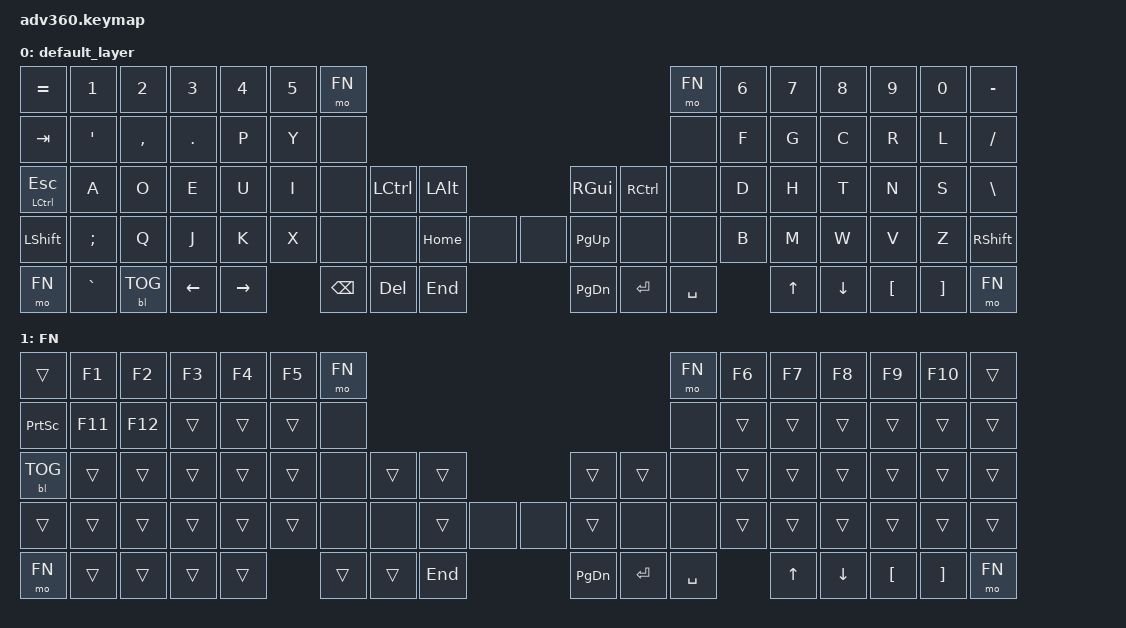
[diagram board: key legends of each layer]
#include <behaviors.dtsi>
#include <dt-bindings/zmk/keys.h>
#include <dt-bindings/zmk/bt.h>
#include <dt-bindings/zmk/rgb.h>
#include <dt-bindings/zmk/backlight.h>


#define DEFAULT 0
#define FN      1
//#define KP      1
//#define FN      2
//#define MOD     3
//#define QWERTY   4
//#define SHIFT_LAYER   5
//#define SYMBOL_LAYER   6
//#define GAME_LAYER   7
//#define CODE   8



/ {
    // combos {
    //     compatible = "zmk,combos";
    //     // combo_save {
    //     //     timeout-ms = <50>;
    //     //     key-positions = <31 32>;
    //     //     bindings = <&kp LG(S)>;
    //     // };
    //     combo_enter {
    //         timeout-ms = <50>;
    //         key-positions = <41 42>;
    //         bindings = <&kp ENTER>;
    //     };
    // };
    behaviors {
     // #include "macros.dtsi"

      hm: homerow_mods {
          compatible = "zmk,behavior-hold-tap";
          label = "HOMEROW_MODS";
          #binding-cells = <2>;
          tapping-term-ms = <200>;
          quick_tap_ms = <175>;
          flavor = "tap-preferred";
          bindings = <&kp>, <&kp>;
      };
      mo_tog: behavior_mo_tog {
          compatible = "zmk,behavior-hold-tap";
          label = "mo_tog";
          #binding-cells = <2>;
          flavor = "hold-preferred";
          tapping-term-ms = <200>;
          bindings = <&mo>, <&tog>;
      };
      bspc_del: backspace_delete {
          compatible = "zmk,behavior-mod-morph";
          label = "BACKSPACE_DELETE";
          #binding-cells = <0>;
          bindings = <&kp BACKSPACE>, <&kp DELETE>;
          mods = <(MOD_LSFT|MOD_RSFT)>;
          keep-mods = <(MOD_RSFT)>;
      };
      td_cp: tap_dance_cp {
          compatible = "zmk,behavior-tap-dance";
          label = "TAP_DANCE_CP";
          #binding-cells = <0>;
          tapping-term-ms = <300>;
          bindings = <&kp LG(V)>, <&kp LG(C)>;
      };
//      td_cap: tap_dance_cap {
//          compatible = "zmk,behavior-tap-dance";
//          label = "TAP_DANCE_CAP";
//          #binding-cells = <0>;
//          tapping-term-ms = <200>;
//          bindings = <&mo SHIFT_LAYER>, <&caps_word>, <&kp CAPSLOCK>;
//      };
//      td_kp: tap_dance_kp {
//          compatible = "zmk,behavior-tap-dance";
//          label = "TAP_DANCE_KP";
//          #binding-cells = <0>;
//          tapping-term-ms = <200>;
//          bindings = <&mo KP>, <&tog KP>;
//      };
//      td_s_par: tap_dance_s_par {
//          compatible = "zmk,behavior-tap-dance";
//          label = "TAP_DANCE_S_PAR";
//          #binding-cells = <0>;
//          tapping-term-ms = <200>;
//          bindings = <&kp LPAR>, <&kp RPAR>;
//      };
//      td_m_par: tap_dance_m_par {
//          compatible = "zmk,behavior-tap-dance";
//          label = "TAP_DANCE_M_PAR";
//          #binding-cells = <0>;
//          tapping-term-ms = <200>;
//          bindings = <&kp LEFT_BRACKET>, <&kp RIGHT_BRACKET>;
//      };
//      td_l_par: tap_dance_l_par {
//          compatible = "zmk,behavior-tap-dance";
//          label = "TAP_DANCE_L_PAR";
//          #binding-cells = <0>;
//          tapping-term-ms = <200>;
//          bindings = <&kp LS(LEFT_BRACKET)>, <&kp LS(RIGHT_BRACKET)>;
//      };
//      gresc: grave_escape {
//          compatible = "zmk,behavior-mod-morph";
//          label = "GRAVE_ESCAPE";
//          #binding-cells = <0>;
//          bindings = <&kp ESC>, <&kp GRAVE>;
//          mods = <(MOD_LSFT|MOD_RSFT)>;
//        };
//      one: one {
//          compatible = "zmk,behavior-mod-morph";
//          label = "one_lt";
//          #binding-cells = <0>;
//          bindings = <&kp N1>, <&kp LESS_THAN>;
//          mods = <(MOD_LSFT|MOD_RSFT)>;
//        };
//      two: two {
//          compatible = "zmk,behavior-mod-morph";
//          label = "two_gt";
//          #binding-cells = <0>;
//          bindings = <&kp N2>, <&kp GREATER_THAN>;
//          mods = <(MOD_LSFT|MOD_RSFT)>;
//        };
//      three: three {
//          compatible = "zmk,behavior-mod-morph";
//          label = "three_question";
//          #binding-cells = <0>;
//          bindings = <&kp N3>, <&kp QUESTION>;
//          mods = <(MOD_LSFT|MOD_RSFT)>;
//        };
//      comma_exclamation: comma_exclamation {
//          compatible = "zmk,behavior-mod-morph";
//          label = "comma_exclamation";
//          #binding-cells = <0>;
//          bindings = <&kp COMMA>, <&kp EXCLAMATION>;
//          mods = <(MOD_LSFT|MOD_RSFT)>;
//        };
//      dot_equal: dot_equal {
//          compatible = "zmk,behavior-mod-morph";
//          label = "dot_equal";
//          #binding-cells = <0>;
//          bindings = <&kp DOT>, <&kp KP_EQUAL>;
//          mods = <(MOD_LSFT|MOD_RSFT)>;
//        };
//      colon_backslash: colon_backslash {
//          compatible = "zmk,behavior-mod-morph";
//          label = "colon_backslash";
//          #binding-cells = <0>;
//          bindings = <&kp COLON>, <&kp BACKSLASH>;
//          mods = <(MOD_LSFT|MOD_RSFT)>;
//        };
//      left_home: left_home {
//          compatible = "zmk,behavior-mod-morph";
//          label = "left_home";
//          #binding-cells = <0>;
//          bindings = <&kp LEFT>, <&kp HOME>;
//          mods = <(MOD_LSFT|MOD_RSFT)>;
//        };
//      right_end: right_end {
//          compatible = "zmk,behavior-mod-morph";
//          label = "right_end";
//          #binding-cells = <0>;
//          bindings = <&kp RIGHT>, <&kp END>;
//          mods = <(MOD_LSFT|MOD_RSFT)>;
//        };

    };

  keymap {
    compatible = "zmk,keymap";
      //  ╭────────────────────────────┬────────────────────────────╮
      //  │  0   1   2   3   4   5   6 │  7   8   9  10  11  12  13 │
      //  │ 14  15  16  17  18  19  20 │ 21  22  23  24  25  26  27 │
      //  │ 28  29  30  31  32  33  34 │ 35  36  37  38  39  40  41 │
      //  │ 42  43  44  45  46  47 ╭───┴───╮ 48  49  50  51  52  53 │
      //  │ 54  55  56  57  58╭────╯       ╰────╮59  60  61  62  63 │
      //  ╰───────────────────┼────────┬────────┼───────────────────╯
      //                  ╭───╯ 64  65 │ 66  67 ╰───╮
      //                  │ 68  69  70 │ 71  72  73 │
      //                  ╰───────╮ 74 │ 75 ╭───────╯
      //                          ╰────┴────╯
      // not my dvorak layout, just a placeholder
      //   ,--------------------------------------------------.                                           ,--------------------------------------------------.                      
      //   |   =+   |   1  |   2  |   3  |  4   |   5  |Tog 3 |                                           | Mod 4|   6  |   7  |   8  |   9  |   0  |   -_   |
      //   |--------+------+------+------+------+------+------|                                           |------+------+------+------+------+------+--------|
      //   |   TAB  |  '"  |  ,<  |  .>  |   P  |   Y  |      |                                           |      |   F  |   G  |   C  |   R  |   L  |   /?   |
      //   |--------+------+------+------+------+------+------|       ,-----+-----.  ,-----+-----.        |------+------+------+------+------+------+--------|
      //   |   ESC  |   A  |   O  |   E  |   U  |   I  | To 1 |       |L Ctl|L Alt|  |L Gui|R ctl|        |      |   D  |   H  |   T  |   N  |   S  |   \|   |
      //   |--------+------+------+------+------+------+------' .-----+-----+-----|  |-----+-----+-----.  '------+------+------+------+------+------+--------|
      //   | L Shift|  ;:  |   Q  |   J  |   K  |   X  |        |BACK |     | Home|  |Pg Up|     |     |         |   B  |   M  |   W  |   V  |   Z  | R Shift|
      //   |--------+------+------+------+------+------'        |Space| DEL |-----|  |-----|Enter|Space|         '------+------+------+------+------+--------|
      //   |  Mod 4 |  `~  | CAPS | Left | Right|               |     |     | End |  |Pg Dn|     |     |                |  Up  | Down |  [{  |  }}  |        |
      //   `--------+------+------+------+------'               `-----+-----+-----'  `-----+-----+-----'                '------+------+------+------+--------'

    default_layer {
      bindings = <
        &kp EQUAL     &kp N1    &kp N2     &kp N3    &kp N4    &kp N5 &mo FN                                                                  &mo FN &kp N6  &kp N7 &kp N8   &kp N9   &kp N0   &kp MINUS
        &kp TAB       &kp SQT   &kp COMMA  &kp DOT   &kp P     &kp Y  &none                                                                   &none  &kp F   &kp G  &kp C    &kp R    &kp L    &kp SLASH
        &mt LCTRL ESC &kp A     &kp O      &kp E     &kp U     &kp I  &none &kp LCTRL &kp LALT                       &kp RGUI  &kp RCTRL      &none  &kp D   &kp H  &kp T    &kp N    &kp S    &kp BSLH
        &kp LSHIFT    &kp SEMI  &kp Q      &kp J     &kp K     &kp X        &none     &none     &kp HOME &none &none &kp PG_UP &none     &none       &kp B   &kp M  &kp W    &kp V    &kp Z    &kp RSHIFT
        &mo FN        &kp GRAVE &bl BL_TOG &kp LEFT  &kp RIGHT              &kp BSPC  &kp DEL   &kp END              &kp PG_DN &kp ENTER &kp SPACE           &kp UP &kp DOWN &kp LBKT &kp RBKT &mo FN
      >;  
    };


    FN {
      bindings = <
        &trans        &kp F1    &kp F2     &kp F3    &kp F4    &kp F5 &mo FN                                                                    &mo FN &kp F6  &kp F7 &kp F8   &kp F9   &kp F10  &trans
        &kp PSCRN     &kp F11   &kp F12    &trans    &trans    &trans &none                                                                     &none  &trans  &trans &trans   &trans   &trans   &trans
        &bl BL_TOG    &trans    &trans     &trans    &trans    &trans &none &trans    &trans                         &trans    &trans           &none  &trans  &trans &trans   &trans   &trans   &trans
        &trans        &trans    &trans     &trans    &trans    &trans       &none     &none     &trans   &none &none &trans    &none       &none       &trans  &trans &trans   &trans   &trans   &trans
        &mo FN        &trans    &trans     &trans    &trans                 &trans    &trans    &kp END              &kp PG_DN &kp ENTER   &kp SPACE           &kp UP &kp DOWN &kp LBKT &kp RBKT &mo FN
      >;
    };


      // not my keypad, just a placeholder
      //   ,--------------------------------------------------.                                           ,--------------------------------------------------.                      
      //   |    =   |   1  |   2  |   3  |  4   |   5  |Trans |                                           | Mod 4|   6  |Num Lk|   =  |   /  |   *  |   -    |
      //   |--------+------+------+------+------+------+------|                                           |------+------+------+------+------+------+--------|
      //   |   TAB  |   Q  |   W  |   E  |   R  |   T  |      |                                           |      |   Y  |   7  |   8  |   9  |   -  |   \    |
      //   |--------+------+------+------+------+------+------|       ,-----+-----.  ,-----+-----.        |------+------+------+------+------+------+--------|
      //   |   Esc  |   A  |   S  |   D  |   F  |   G  |      |       |L Ctl|L Alt|  |L Gui|R ctl|        |      |   H  |   4  |   5  |   6  |   +  |   "    |
      //   |--------+------+------+------+------+------+------' .-----+-----+-----|  |-----+-----+-----.  '------+------+------+------+------+------+--------|
      //   | L Shift|   Z  |   X  |   C  |   V  |   B  |        |     |     | Home|  |Pg Up|     |     |         |   N  |   1  |   2  |   3  |  Ent | R Shift|
      //   |--------+------+------+------+------+------'        |BkSpc| Del |-----|  |-----| Ent | Spc |         '------+------+------+------+------+--------|
      //   |  Mod 3 |   `  | CAPS | Left | Right|               |     |     | End |  |Pg Dn|     |     |                |  Up  | Down |   .  |   )  | Mod 3  |
      //   `--------+------+------+------+------'               `-----+-----+-----'  `-----+-----+-----'                '------+------+------+------+--------'

//    keypad {
//      bindings = <
//        &kp LG(W) &kp N1    &kp N2   &kp N3   &kp N4     &kp N5 &trans                                                                       &mo MOD &none &none &none &none &none &none
//        &kp LG(TAB)   &kp LG(LS(Z))     &kp LC(LEFT)    &kp LC(UP)    &kp LC(RIGHT)      &kp LA(SPACE)  &none                                                                        &none &kp KP_DIVIDE  &kp N7  &kp N8    &kp N9     &kp KP_MINUS    &kp BSLH
//        &kp ESC   &kp LG(A)     &kp LS(LC(TAB))    &kp D    &kp LC(TAB)      &kp G  &none           &kp LCTRL &kp LALT             &kp LGUI  &kp RCTRL           &none &kp KP_MULTIPLY  &kp N4  &kp N5    &kp N6     &kp KP_PLUS     &kp SQT
//        &kp LA(LS(SPACE)) &kp LG(Z)     &kp LG(X)    &kp LG(C)    &kp LG(V)      &kp LG(LS(Z))        &none    &none     &kp HOME &none &none &kp PG_UP &none     &none           &kp N0  &kp N1  &kp N2    &kp N3     &kp KP_ENTER    &kp RSHFT
//        &mo_tog KP KP     &kp GRAVE &kp CAPS &kp LEFT &kp RIGHT                &kp SPACE &none   &kp END              &kp PG_DN &kp DEL &kp BACKSPACE              &kp C_PLAY_PAUSE     &kp C_PREV     &kp C_NEXT    &kp RBKT        &mo FN
//      >;
//    };
//    fn {
//      bindings = <
//        &kp LG(W) &kp F2 &kp F3 &kp F4 &kp F5 &kp F6 &tog KP                                                       &mo 3 &macro_gmail &macro_psu &kp F9 &kp F10 &kp F11 &kp F12
//        &kp LG(TAB)  &kp PG_UP &kp LA(LEFT) &kp UP &kp LA(RIGHT) &macro_select_line &kp LG(PLUS)                                                       &none &trans &trans &macro_class &trans  &kp LG(SLASH)  &trans
//        &trans  &kp PG_DN &kp LEFT &kp DOWN &kp RIGHT &macro_select_word &kp LG(MINUS)        &trans &trans             &trans &trans        &none &macro_def &macro_parens &macro_brackets &macro_lbrackets  &trans  &trans
//        &trans &kp LG(Z) &kp LG(X) &kp LG(C) &kp LG(V) &trans        &none  &none  &trans &none &none &trans &none  &none        &trans &macro_main &macro_cancel_hints &trans  &macro_undir  &trans
//        &trans &trans &trans &trans &trans               &trans &trans &trans             &trans &trans &trans              &trans &trans &trans  &trans  &trans
//      >;
//    };
//    mod {
//      bindings = <
//        &none &bt BT_SEL 0 &bt BT_SEL 1 &bt BT_SEL 2 &bt BT_SEL 3 &bt BT_SEL 4 &none                                                                                                          &trans                 &bt BT_SEL 0 &bt BT_SEL 1 &bt BT_SEL 2 &bt BT_SEL 3 &bt BT_SEL 4 &none
//        &none &none        &none        &none        &none        &none        &bootloader                                                                                                    &bootloader            &none        &none        &none        &none        &none        &none
//        &none &none        &none        &none        &none        &none        &rgb_ug RGB_MEFS_CMD 5                 &bt BT_CLR &bt BT_CLR             &bt BT_CLR &bt BT_CLR                 &rgb_ug RGB_MEFS_CMD 5 &none        &none        &none        &none        &none        &none
//        &none &none        &none        &none        &none        &none                               &none           &none      &none      &none &none &none      &none      &none                                  &none        &none        &none        &none        &none        &none
//        &none &none        &none        &bl BL_INC   &bl BL_DEC                                       &rgb_ug RGB_TOG &bl BL_TOG &none                  &none      &bl BL_TOG &rgb_ug RGB_TOG                                     &bl BL_INC   &bl BL_DEC   &none        &none        &none
//      >;
//    };
      // not my qwerty, just a template
      //   ,--------------------------------------------------.                                           ,--------------------------------------------------.                      
      //   |    =   |   1  |   2  |   3  |  4   |   5  |Tog 3 |                                           | Mod 4|   6  |   7  |   8  |   9  |   0  |   -    |
      //   |--------+------+------+------+------+------+------|                                           |------+------+------+------+------+------+--------|
      //   |   TAB  |   Q  |   W  |   E  |   R  |   T  |      |                                           |      |   Y  |   U  |   I  |   O  |   P  |   \    |
      //   |--------+------+------+------+------+------+------|       ,-----+-----.  ,-----+-----.        |------+------+------+------+------+------+--------|
      //   |   Esc  |   A  |   S  |   D  |   F  |   G  | To 0 |       |L Ctl|L Alt|  |L Gui|R ctl|        |      |   H  |   J  |   K  |   L  |   :  |   "    |
      //   |--------+------+------+------+------+------+------' .-----+-----+-----|  |-----+-----+-----.  '------+------+------+------+------+------+--------|
      //   | L Shift|   Z  |   X  |   C  |   V  |   B  |        |     |     | Home|  |Pg Up|     |     |         |   N  |   M  |   ,  |   .  |   /  | R Shift|
      //   |--------+------+------+------+------+------'        |BkSpc| Del |-----|  |-----| Ent | Spc |         '------+------+------+------+------+--------|
      //   |  Mod 3 |   `  | CAPS | Left | Right|               |     |     | End |  |Pg Dn|     |     |                |  Up  | Down |   (  |   )  | Mod 3  |
      //   `--------+------+------+------+------'               `-----+-----+-----'  `-----+-----+-----'                '------+------+------+------+--------'

//    qwerty_layer {
//      bindings = <
//        &kp EQUAL &kp N1    &kp N2   &kp N3   &kp N4     &kp N5 &tog KP                                                                       &mo MOD &kp N6 &kp N7 &kp N8    &kp N9   &kp N0   &tog QWERTY
//        &kp TAB   &kp Q     &kp W    &kp E    &kp R      &kp T  &none                                                                        &none &kp Y  &kp U  &kp I     &kp O    &kp P    &kp BSLH
//        &kp ESC   &kp A     &kp S    &kp D    &kp F      &kp G  &none           &kp LCTRL &kp LALT             &kp LGUI  &kp RCTRL           &none &kp H  &kp J  &kp K     &kp L    &kp SEMI &kp SQT
//        &kp LSHFT &kp Z     &kp X    &kp C    &kp V      &kp B         &none    &none     &kp HOME &none &none &kp PG_UP &none     &none           &kp N  &kp M  &kp COMMA &kp DOT  &kp FSLH &kp RSHFT
//        &mo FN     &kp GRAVE &kp CAPS &kp LEFT &kp RIGHT                &kp SPACE &kp DEL   &kp END              &kp PG_DN &kp ENTER &kp BACKSPACE              &kp UP &kp DOWN  &kp LBKT &kp RBKT &mo FN
//      >;
//    };
//    shift_layer {
//      bindings = <
//        &kp SEMI &kp LESS_THAN    &kp GREATER_THAN   &kp QUESTION   &kp LS(LEFT_BRACKET)     &kp PERCENT &tog KP                                                                       &mo MOD &kp CARET &kp LS(RIGHT_BRACKET) &kp HASH    &kp AMPERSAND   &kp SEMICOLON   &tog QWERTY
//        &kp LS(TAB)   &kp LS(SQT)   &kp EXCLAMATION &kp EQUAL  &kp LS(P) &kp LS(Y)   &kp LA(LC(N))                                                                        &kp LA(SPACE) &kp LS(F)     &kp LS(G)     &kp LS(C)    &kp LS(R) &kp LS(L) &kp LS(BSLH)
//        &mt LCTRL ESC &kp LS(A)       &kp LS(O)     &kp LS(E)    &kp LS(U) &kp LS(I)  &sk LSHFT           &sk LSHFT &kp LALT             &kp LGUI  &kp RCTRL           &kp LG(S) &kp LS(D)     &kp LS(H)     &kp LS(T)    &kp LS(N) &kp LS(S) &lt FN PLUS
//        &td_cap &kp BACKSLASH   &kp LS(Q)     &kp LS(J)    &kp LS(K) &kp LS(X)         &none    &none     &kp HOME &none &none &kp PG_UP &none     &none           &kp LS(B)     &kp LS(M)     &kp LS(W)    &kp LS(V) &kp LS(Z) &td_cap
//        &mo KP     &kp LS(GRAVE) &kp LALT &mo_tog FN FN &kp LGUI                &kp UNDER &mo FN   &kp END              &kp PG_DN &kp ENTER &kp DELETE              &kp ENTER &kp HOME &kp END &kp LS(N2) &mo FN
//      >;
//    };
//    sym_layer {
//      bindings = <
//        &kp SEMI &kp LESS_THAN    &kp GREATER_THAN   &kp QUESTION   &kp LS(LEFT_BRACKET)     &kp PERCENT &tog KP                                                                       &mo MOD &kp CARET &kp LS(RIGHT_BRACKET) &kp STAR    &kp N9   &kp N0   &tog QWERTY
//        &kp LS(TAB)   &kp LS(SQT)   &kp EXCLAMATION &kp EQUAL  &kp LS(P) &kp LS(Y)   &kp LA(LC(N))                                                                        &kp LA(SPACE) &kp LESS_THAN     &kp LS(LEFT_BRACKET)     &kp LS(RIGHT_BRACKET)    &kp GREATER_THAN &kp PIPE &kp LS(BSLH)
//        &mt LCTRL ESC &kp LS(A)       &kp LS(O)     &kp LS(E)    &kp LS(U) &kp LS(I)  &sk LSHFT           &sk LSHFT &kp LALT             &kp LGUI  &kp RCTRL           &kp LG(S) &kp LEFT_BRACKET     &kp LPAR     &kp RPAR    &kp RIGHT_BRACKET &kp AMPERSAND &lt FN MINUS
//        &td_cap &kp BACKSLASH   &kp LS(Q)     &kp LS(J)    &kp LS(K) &kp LS(X)         &none    &none     &kp HOME &none &none &kp PG_UP &none     &none           &kp GRAVE     &kp TILDE     &kp HASH    &kp AT &kp SEMICOLON &td_cap
//        &mo KP     &kp GRAVE &kp LALT &mo_tog FN FN &kp LGUI                &kp SPACE &mo FN   &kp LA(LC(N))              &kp PG_DN &kp ENTER &bspc_del              &kp PLUS &kp STAR  &kp SLASH &kp PERCENT &mo FN
//      >;
//    };
//    game_layer {
//      bindings = <
//        &kp ESC &kp N1    &kp N2   &kp N3   &kp N4     &kp N5 &tog KP                                                                       &mo MOD &kp N6 &kp N7 &kp N8    &kp N9   &kp N0   &tog GAME_LAYER
//        &kp TAB   &kp Q &kp Q     &kp W    &kp E    &kp R        &none                                                                        &none &kp Y  &kp U  &kp I     &kp O    &kp P    &kp BSLH
//        &kp LCTRL   &kp LCTRL &kp A     &kp S    &kp D    &kp F        &kp G           &kp LCTRL &kp LALT             &kp LGUI  &kp RCTRL           &none &kp H  &kp J  &kp K     &kp L    &kp SEMI &kp SQT
//        &kp LSHFT &kp Z &kp Z     &kp X    &kp C    &kp V               &none    &none     &kp HOME &none &none &kp PG_UP &none     &none           &kp N  &kp M  &kp COMMA &kp DOT  &kp FSLH &kp RSHFT
//        &mo FN     &kp GRAVE &kp CAPS &kp LEFT &kp RIGHT                &kp SPACE &kp DEL   &kp END              &kp PG_DN &kp ENTER &kp BACKSPACE              &kp UP &kp DOWN  &kp LBKT &kp RBKT &mo FN
//      >;
//    };

  };
};
